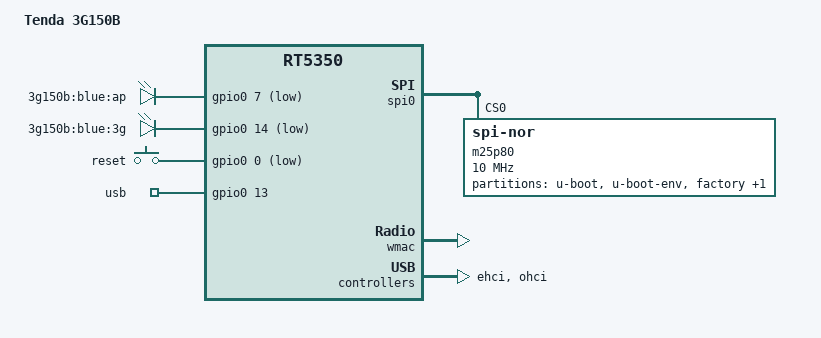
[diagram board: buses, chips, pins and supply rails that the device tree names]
/dts-v1/;

#include "rt5350.dtsi"

#include <dt-bindings/gpio/gpio.h>
#include <dt-bindings/input/input.h>

/ {
	compatible = "tenda,3g150b", "ralink,rt5350-soc";
	model = "Tenda 3G150B";

	aliases {
		led-boot = &led_ap;
		led-failsafe = &led_ap;
		led-running = &led_ap;
		led-upgrade = &led_ap;
	};

	leds {
		compatible = "gpio-leds";

		led_ap: ap {
			label = "3g150b:blue:ap";
			gpios = <&gpio0 7 GPIO_ACTIVE_LOW>;
		};

		3g {
			label = "3g150b:blue:3g";
			gpios = <&gpio0 14 GPIO_ACTIVE_LOW>;
			trigger-sources = <&ohci_port1>, <&ehci_port1>;
			linux,default-trigger = "usbport";
		};
	};

	keys {
		compatible = "gpio-keys-polled";
		poll-interval = <20>;

		reset {
			label = "reset";
			gpios = <&gpio0 0 GPIO_ACTIVE_LOW>;
			linux,code = <KEY_RESTART>;
		};
	};

	gpio_export {
		compatible = "gpio-export";
		#size-cells = <0>;

		usb {
			gpio-export,name = "usb";
			gpio-export,output = <1>;
			gpios = <&gpio0 13 GPIO_ACTIVE_HIGH>;
		};
	};
};

&spi0 {
	status = "okay";

	m25p80@0 {
		compatible = "jedec,spi-nor";
		reg = <0>;
		spi-max-frequency = <10000000>;

		partitions {
			compatible = "fixed-partitions";
			#address-cells = <1>;
			#size-cells = <1>;

			partition@0 {
				label = "u-boot";
				reg = <0x0 0x30000>;
				read-only;
			};

			partition@30000 {
				label = "u-boot-env";
				reg = <0x30000 0x10000>;
				read-only;
			};

			factory: partition@40000 {
				label = "factory";
				reg = <0x40000 0x10000>;
				read-only;
			};

			partition@50000 {
				compatible = "denx,uimage";
				label = "firmware";
				reg = <0x50000 0x3b0000>;
			};
		};
	};
};

&gpio1 {
	status = "okay";
};

&state_default {
	gpio {
		ralink,group = "i2c", "jtag", "uartf", "led";
		ralink,function = "gpio";
	};
};

&ethernet {
	mtd-mac-address = <&factory 0x4>;
};

&esw {
	mediatek,portmap = <0x2f>;
};

&wmac {
	ralink,mtd-eeprom = <&factory 0>;
	ralink,led-polarity = <1>;
};

&ehci {
	status = "okay";
};

&ohci {
	status = "okay";
};
